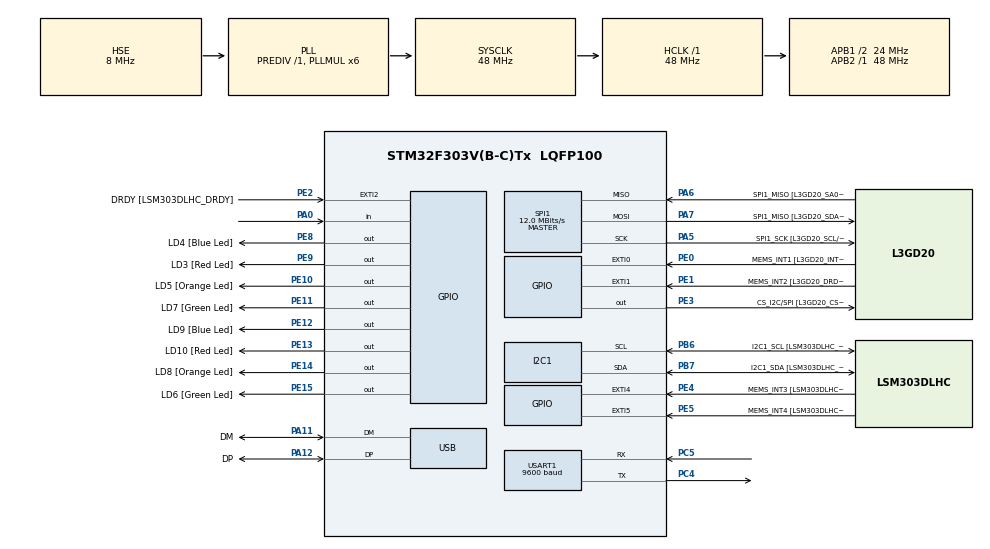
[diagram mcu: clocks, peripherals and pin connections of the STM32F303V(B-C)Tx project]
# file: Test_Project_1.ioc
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FREERTOS.Tasks01=Button,0,128,StartDefaultTask,Default,NULL,Dynamic,NULL,NULL;StepporUp,0,128,Up,Default,NULL,Dynamic,NULL,NULL;StepporDown,0,128,Down,Default,NULL,Dynamic,NULL,NULL;Steppor_Left_X,0,128,Left_X,Default,NULL,Dynamic,NULL,NULL;Steppor_Left_Y,0,128,Left_Y,Default,NULL,Dynamic,NULL,NULL;Steppor_Right_X,0,128,Right_X,Default,NULL,Dynamic,NULL,NULL;Steppor_Right_Y,0,128,Right_Y,Default,NULL,Dynamic,NULL,NULL;Servo_Up_Down,0,128,Servo,Default,NULL,Dynamic,NULL,NULL
FREERTOS.configTOTAL_HEAP_SIZE=6900
I2C1.Timing-I2C=0x2000090E
Mcu.Family=STM32F3
Mcu.Name=STM32F303V(B-C)Tx
Mcu.Package=LQFP100
NVIC.PriorityGroup=NVIC_PRIORITYGROUP_4
NVIC.USART1_IRQn=true\:5\:0\:false\:false\:true\:true\:true\:true
PA0.Signal=GPIO_Input
PA11.GPIO_Label=DM
PA11.Mode=Device
PA11.Signal=USB_DM
PA12.GPIO_Label=DP
PA12.Mode=Device
PA12.Signal=USB_DP
PA13.GPIO_Label=SWDIO
PA13.Mode=Serial_Wire
PA13.Signal=SYS_JTMS-SWDIO
PA14.GPIO_Label=SWCLK
PA14.Mode=Serial_Wire
PA14.Signal=SYS_JTCK-SWCLK
PA5.GPIO_Label=SPI1_SCK [L3GD20_SCL/SPC]
PA5.Mode=Full_Duplex_Master
PA5.Signal=SPI1_SCK
PA6.GPIO_Label=SPI1_MISO [L3GD20_SA0/SDO]
PA6.Mode=Full_Duplex_Master
PA6.Signal=SPI1_MISO
PA7.GPIO_Label=SPI1_MISO [L3GD20_SDA/SDI/SDO]
PA7.Mode=Full_Duplex_Master
PA7.Signal=SPI1_MOSI
PB3.GPIO_Label=SWO
PB3.Signal=SYS_JTDO-TRACESWO
PB6.GPIO_Label=I2C1_SCL [LSM303DLHC_SCL]
PB6.Mode=I2C
PB6.Signal=I2C1_SCL
PB7.GPIO_Label=I2C1_SDA [LSM303DLHC_SDA]
PB7.Mode=I2C
PB7.Signal=I2C1_SDA
PC14-OSC32_IN.GPIO_Label=OSC32_IN
PC14-OSC32_IN.Signal=RCC_OSC32_IN
PC15-OSC32_OUT.GPIO_Label=OSC32_OUT
PC15-OSC32_OUT.Signal=RCC_OSC32_OUT
PC4.Mode=Asynchronous
PC4.Signal=USART1_TX
PC5.Mode=Asynchronous
PC5.Signal=USART1_RX
PE0.GPIO_Label=MEMS_INT1 [L3GD20_INT1]
PE0.GPIO_ModeDefaultEXTI=GPIO_MODE_EVT_RISING
PE0.Signal=GPXTI0
PE1.GPIO_Label=MEMS_INT2 [L3GD20_DRDY/INT2]
PE1.GPIO_ModeDefaultEXTI=GPIO_MODE_EVT_RISING
PE1.Signal=GPXTI1
PE10.GPIO_Label=LD5 [Orange Led]
PE10.Signal=GPIO_Output
PE11.GPIO_Label=LD7 [Green Led]
PE11.Signal=GPIO_Output
PE12.GPIO_Label=LD9 [Blue Led]
PE12.Signal=GPIO_Output
PE13.GPIO_Label=LD10 [Red Led]
PE13.Signal=GPIO_Output
PE14.GPIO_Label=LD8 [Orange Led]
PE14.Signal=GPIO_Output
PE15.GPIO_Label=LD6 [Green Led]
PE15.Signal=GPIO_Output
PE2.GPIO_Label=DRDY [LSM303DLHC_DRDY]
PE2.GPIO_ModeDefaultEXTI=GPIO_MODE_EVT_RISING
PE2.Signal=GPXTI2
PE3.GPIO_Label=CS_I2C/SPI [L3GD20_CS_I2C/SPI]
PE3.Signal=GPIO_Output
PE4.GPIO_Label=MEMS_INT3 [LSM303DLHC_INT1]
PE4.GPIO_ModeDefaultEXTI=GPIO_MODE_EVT_RISING
PE4.Signal=GPXTI4
PE5.GPIO_Label=MEMS_INT4 [LSM303DLHC_INT2]
PE5.GPIO_ModeDefaultEXTI=GPIO_MODE_EVT_RISING
PE5.Signal=GPXTI5
PE8.GPIO_Label=LD4 [Blue Led]
PE8.Signal=GPIO_Output
PE9.GPIO_Label=LD3 [Red Led]
PE9.Signal=GPIO_Output
PF0-OSC_IN.GPIO_Label=OSC_IN
PF0-OSC_IN.Mode=HSE-External-Clock-Source
PF0-OSC_IN.Signal=RCC_OSC_IN
PF1-OSC_OUT.GPIO_Label=OSC_OUT
PF1-OSC_OUT.Signal=RCC_OSC_OUT
ProjectManager.HeapSize=0x200
ProjectManager.StackSize=0x400
ProjectManager.TargetToolchain=MDK-ARM V5
RCC.AHBFreq_Value=48000000
RCC.APB1CLKDivider=RCC_HCLK_DIV2
RCC.APB1Freq_Value=24000000
RCC.APB1TimFreq_Value=48000000
RCC.APB2Freq_Value=48000000
RCC.APB2TimFreq_Value=48000000
RCC.CortexFreq_Value=48000000
RCC.HCLKFreq_Value=48000000
RCC.HSE_VALUE=8000000
RCC.HSI_VALUE=8000000
RCC.LSE_VALUE=32768
RCC.PLLMUL=RCC_PLL_MUL6
RCC.SYSCLKFreq_VALUE=48000000
RCC.SYSCLKSourceVirtual=RCC_SYSCLKSOURCE_PLLCLK
RCC.USBFreq_Value=48000000
SPI1.BaudRatePrescaler=SPI_BAUDRATEPRESCALER_4
SPI1.BaudRatePrescaler-Full_Duplex_Master=SPI_BAUDRATEPRESCALER_2
SPI1.CalculateBaudRate=12.0 MBits/s
SPI1.CalculateBaudRate-Full_Duplex_Master=24.0 MBits/s
SPI1.Direction=SPI_DIRECTION_2LINES
SPI1.Mode=SPI_MODE_MASTER
SPI1.Mode-Full_Duplex_Master=SPI_MODE_MASTER
SPI1.VirtualType=VM_MASTER
USART1.BaudRate=9600
USART1.VirtualMode-Asynchronous=VM_ASYNC
VP_FREERTOS_VS_CMSIS_V1.Mode=CMSIS_V1
board=STM32F3DISCOVERY

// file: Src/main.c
/* USER CODE BEGIN Header */
/**
  ******************************************************************************
  * @file           : main.c
  * @brief          : Main program body
  ******************************************************************************
  * @attention
  *
  * <h2><center>&copy; Copyright (c) 2020 STMicroelectronics.
  * All rights reserved.</center></h2>
  *
  * This software component is licensed by ST under BSD 3-Clause license,
  * the "License"; You may not use this file except in compliance with the
  * License. You may obtain a copy of the License at:
  *                        opensource.org/licenses/BSD-3-Clause
  *
  ******************************************************************************
  */
/* USER CODE END Header */

#include "main.h"
#include "cmsis_os.h"

/* USER CODE BEGIN Includes */
#include "string.h"
/* USER CODE END Includes */

I2C_HandleTypeDef hi2c1;

SPI_HandleTypeDef hspi1;

UART_HandleTypeDef huart1;

PCD_HandleTypeDef hpcd_USB_FS;

osThreadId ButtonHandle;
osThreadId StepporUpHandle;
osThreadId StepporDownHandle;
osThreadId Steppor_Left_XHandle;
osThreadId Steppor_Left_YHandle;
osThreadId Steppor_Right_XHandle;
osThreadId Steppor_Right_YHandle;
osThreadId Servo_Up_DownHandle;
/* USER CODE BEGIN PV */
int Check=0;
char datain[20];
int ti =0;
/* USER CODE END PV */

void SystemClock_Config(void);
static void MX_GPIO_Init(void);
static void MX_I2C1_Init(void);
static void MX_SPI1_Init(void);
static void MX_USB_PCD_Init(void);
static void MX_USART1_UART_Init(void);
void StartDefaultTask(void const * argument);
void Up(void const * argument);
void Down(void const * argument);
void Left_X(void const * argument);
void Left_Y(void const * argument);
void Right_X(void const * argument);
void Right_Y(void const * argument);
void Servo(void const * argument);

/* USER CODE BEGIN PFP */
void send_usart(const char *text);
/* USER CODE END PFP */

int main(void)
{

  /* MCU Configuration--------------------------------------------------------*/

  /* Reset of all peripherals, Initializes the Flash interface and the Systick. */
  HAL_Init();

  /* Configure the system clock */
  SystemClock_Config();

  /* Initialize all configured peripherals */
  MX_GPIO_Init();
  MX_I2C1_Init();
  MX_SPI1_Init();
  MX_USB_PCD_Init();
  MX_USART1_UART_Init();

  /* Create the thread(s) */
  /* definition and creation of Button */
  osThreadDef(Button, StartDefaultTask, osPriorityNormal, 0, 128);
  ButtonHandle = osThreadCreate(osThread(Button), NULL);

  /* definition and creation of StepporUp */
  osThreadDef(StepporUp, Up, osPriorityNormal, 0, 128);
  StepporUpHandle = osThreadCreate(osThread(StepporUp), NULL);

  /* definition and creation of StepporDown */
  osThreadDef(StepporDown, Down, osPriorityNormal, 0, 128);
  StepporDownHandle = osThreadCreate(osThread(StepporDown), NULL);

  /* definition and creation of Steppor_Left_X */
  osThreadDef(Steppor_Left_X, Left_X, osPriorityNormal, 0, 128);
  Steppor_Left_XHandle = osThreadCreate(osThread(Steppor_Left_X), NULL);

  /* definition and creation of Steppor_Left_Y */
  osThreadDef(Steppor_Left_Y, Left_Y, osPriorityNormal, 0, 128);
  Steppor_Left_YHandle = osThreadCreate(osThread(Steppor_Left_Y), NULL);

  /* definition and creation of Steppor_Right_X */
  osThreadDef(Steppor_Right_X, Right_X, osPriorityNormal, 0, 128);
  Steppor_Right_XHandle = osThreadCreate(osThread(Steppor_Right_X), NULL);

  /* definition and creation of Steppor_Right_Y */
  osThreadDef(Steppor_Right_Y, Right_Y, osPriorityNormal, 0, 128);
  Steppor_Right_YHandle = osThreadCreate(osThread(Steppor_Right_Y), NULL);

  /* definition and creation of Servo_Up_Down */
  osThreadDef(Servo_Up_Down, Servo, osPriorityNormal, 0, 128);
  Servo_Up_DownHandle = osThreadCreate(osThread(Servo_Up_Down), NULL);

  /* Start scheduler */
  osKernelStart();

  /* We should never get here as control is now taken by the scheduler */

  /* Infinite loop */
  /* USER CODE BEGIN WHILE */
  while (1)
  {
		HAL_GPIO_WritePin(GPIOE, GPIO_PIN_13, 0);
//	int i=0;
//		int j=0;
//		int Status = 0;
//		int a =0;
//
//
//		if(HAL_GPIO_ReadPin(GPIOA, GPIO_PIN_0)==1){
////		Status = 0 ;
//		Status++; }
//

//		if(Status == 1)//up
//		{
//			for( i=0;i<50;i++)
//			{
//
//				HAL_GPIO_WritePin(GPIOE, GPIO_PIN_9, 1);//dir y
//				HAL_GPIO_WritePin(GPIOE, GPIO_PIN_11, 0);	//dir x
//				for(int j=0;j<=200;j++)
//				{
//					HAL_GPIO_WritePin(GPIOE, GPIO_PIN_10, 1);
//					HAL_GPIO_WritePin(GPIOE, GPIO_PIN_8, 1);
//					HAL_Delay(1);
//					HAL_GPIO_WritePin(GPIOE, GPIO_PIN_8, 0);
//					HAL_GPIO_WritePin(GPIOE, GPIO_PIN_10, 0);
//
//					HAL_Delay(1);

//				}
//				j=0;
//
//			}i=0;
//			Status=2;
//		}
//
//		if(Status == 2)//dowm
//		{
//			for(i=0;i<10;i++)
//			{
//				HAL_GPIO_WritePin(GPIOE, GPIO_PIN_9,0);//dir y
//				HAL_GPIO_WritePin(GPIOE, GPIO_PIN_11,1);	//dir x
//				for(int j=0;j<=200;j++)
//				{
//					HAL_GPIO_WritePin(GPIOE, GPIO_PIN_10, 1);
//					HAL_GPIO_WritePin(GPIOE, GPIO_PIN_8, 1);
//					HAL_Delay(1);
//					HAL_GPIO_WritePin(GPIOE, GPIO_PIN_8, 0);
//					HAL_GPIO_WritePin(GPIOE, GPIO_PIN_10, 0);
//
//					HAL_Delay(1);

//					}
//				}
//			Status=3;
//			}
//			if(Status == 3)//dowm
//		{
//			for(i=0;i<50;i++)
//			{
//				HAL_GPIO_WritePin(GPIOE, GPIO_PIN_9,1);//dir y
//				HAL_GPIO_WritePin(GPIOE, GPIO_PIN_11,0);	//dir x
//				for(int j=0;j<=200;j++)
//				{
//					HAL_GPIO_WritePin(GPIOE, GPIO_PIN_10, 1);
//					for(int j=0;j<=50;j++)
//				{
//					HAL_GPIO_WritePin(GPIOE, GPIO_PIN_8, 1);
//					HAL_Delay(1);
//					HAL_GPIO_WritePin(GPIOE, GPIO_PIN_8, 0);

//					HAL_Delay(1);

//					}
//					HAL_GPIO_WritePin(GPIOE, GPIO_PIN_10, 0);
//
//					HAL_Delay(1);

//					}
//				}
//			Status=3;
			}
//

    /* USER CODE END WHILE */

}

void SystemClock_Config(void)
{
  RCC_OscInitTypeDef RCC_OscInitStruct = {0};
  RCC_ClkInitTypeDef RCC_ClkInitStruct = {0};
  RCC_PeriphCLKInitTypeDef PeriphClkInit = {0};

  /** Initializes the CPU, AHB and APB busses clocks
  */
  RCC_OscInitStruct.OscillatorType = RCC_OSCILLATORTYPE_HSI|RCC_OSCILLATORTYPE_HSE;
  RCC_OscInitStruct.HSEState = RCC_HSE_BYPASS;
  RCC_OscInitStruct.HSEPredivValue = RCC_HSE_PREDIV_DIV1;
  RCC_OscInitStruct.HSIState = RCC_HSI_ON;
  RCC_OscInitStruct.HSICalibrationValue = RCC_HSICALIBRATION_DEFAULT;
  RCC_OscInitStruct.PLL.PLLState = RCC_PLL_ON;
  RCC_OscInitStruct.PLL.PLLSource = RCC_PLLSOURCE_HSE;
  RCC_OscInitStruct.PLL.PLLMUL = RCC_PLL_MUL6;
  if (HAL_RCC_OscConfig(&RCC_OscInitStruct) != HAL_OK)
  {
    Error_Handler();
  }
  /** Initializes the CPU, AHB and APB busses clocks
  */
  RCC_ClkInitStruct.ClockType = RCC_CLOCKTYPE_HCLK|RCC_CLOCKTYPE_SYSCLK
                              |RCC_CLOCKTYPE_PCLK1|RCC_CLOCKTYPE_PCLK2;
  RCC_ClkInitStruct.SYSCLKSource = RCC_SYSCLKSOURCE_PLLCLK;
  RCC_ClkInitStruct.AHBCLKDivider = RCC_SYSCLK_DIV1;
  RCC_ClkInitStruct.APB1CLKDivider = RCC_HCLK_DIV2;
  RCC_ClkInitStruct.APB2CLKDivider = RCC_HCLK_DIV1;

  if (HAL_RCC_ClockConfig(&RCC_ClkInitStruct, FLASH_LATENCY_1) != HAL_OK)
  {
    Error_Handler();
  }
  PeriphClkInit.PeriphClockSelection = RCC_PERIPHCLK_USB|RCC_PERIPHCLK_USART1
                              |RCC_PERIPHCLK_I2C1;
  PeriphClkInit.Usart1ClockSelection = RCC_USART1CLKSOURCE_PCLK2;
  PeriphClkInit.I2c1ClockSelection = RCC_I2C1CLKSOURCE_HSI;
  PeriphClkInit.USBClockSelection = RCC_USBCLKSOURCE_PLL;
  if (HAL_RCCEx_PeriphCLKConfig(&PeriphClkInit) != HAL_OK)
  {
    Error_Handler();
  }
}

static void MX_I2C1_Init(void)
{

  hi2c1.Instance = I2C1;
  hi2c1.Init.Timing = 0x2000090E;
  hi2c1.Init.OwnAddress1 = 0;
  hi2c1.Init.AddressingMode = I2C_ADDRESSINGMODE_7BIT;
  hi2c1.Init.DualAddressMode = I2C_DUALADDRESS_DISABLE;
  hi2c1.Init.OwnAddress2 = 0;
  hi2c1.Init.OwnAddress2Masks = I2C_OA2_NOMASK;
  hi2c1.Init.GeneralCallMode = I2C_GENERALCALL_DISABLE;
  hi2c1.Init.NoStretchMode = I2C_NOSTRETCH_DISABLE;
  if (HAL_I2C_Init(&hi2c1) != HAL_OK)
  {
    Error_Handler();
  }
  /** Configure Analogue filter
  */
  if (HAL_I2CEx_ConfigAnalogFilter(&hi2c1, I2C_ANALOGFILTER_ENABLE) != HAL_OK)
  {
    Error_Handler();
  }
  /** Configure Digital filter
  */
  if (HAL_I2CEx_ConfigDigitalFilter(&hi2c1, 0) != HAL_OK)
  {
    Error_Handler();
  }

}

static void MX_SPI1_Init(void)
{

  /* SPI1 parameter configuration*/
  hspi1.Instance = SPI1;
  hspi1.Init.Mode = SPI_MODE_MASTER;
  hspi1.Init.Direction = SPI_DIRECTION_2LINES;
  hspi1.Init.DataSize = SPI_DATASIZE_4BIT;
  hspi1.Init.CLKPolarity = SPI_POLARITY_LOW;
  hspi1.Init.CLKPhase = SPI_PHASE_1EDGE;
  hspi1.Init.NSS = SPI_NSS_SOFT;
  hspi1.Init.BaudRatePrescaler = SPI_BAUDRATEPRESCALER_4;
  hspi1.Init.FirstBit = SPI_FIRSTBIT_MSB;
  hspi1.Init.TIMode = SPI_TIMODE_DISABLE;
  hspi1.Init.CRCCalculation = SPI_CRCCALCULATION_DISABLE;
  hspi1.Init.CRCPolynomial = 7;
  hspi1.Init.CRCLength = SPI_CRC_LENGTH_DATASIZE;
  hspi1.Init.NSSPMode = SPI_NSS_PULSE_ENABLE;
  if (HAL_SPI_Init(&hspi1) != HAL_OK)
  {
    Error_Handler();
  }

}

static void MX_USART1_UART_Init(void)
{

  huart1.Instance = USART1;
  huart1.Init.BaudRate = 9600;
  huart1.Init.WordLength = UART_WORDLENGTH_8B;
  huart1.Init.StopBits = UART_STOPBITS_1;
  huart1.Init.Parity = UART_PARITY_NONE;
  huart1.Init.Mode = UART_MODE_TX_RX;
  huart1.Init.HwFlowCtl = UART_HWCONTROL_NONE;
  huart1.Init.OverSampling = UART_OVERSAMPLING_16;
  huart1.Init.OneBitSampling = UART_ONE_BIT_SAMPLE_DISABLE;
  huart1.AdvancedInit.AdvFeatureInit = UART_ADVFEATURE_NO_INIT;
  if (HAL_UART_Init(&huart1) != HAL_OK)
  {
    Error_Handler();
  }

}

static void MX_USB_PCD_Init(void)
{

  hpcd_USB_FS.Instance = USB;
  hpcd_USB_FS.Init.dev_endpoints = 8;
  hpcd_USB_FS.Init.speed = PCD_SPEED_FULL;
  hpcd_USB_FS.Init.phy_itface = PCD_PHY_EMBEDDED;
  hpcd_USB_FS.Init.low_power_enable = DISABLE;
  hpcd_USB_FS.Init.battery_charging_enable = DISABLE;
  if (HAL_PCD_Init(&hpcd_USB_FS) != HAL_OK)
  {
    Error_Handler();
  }

}

static void MX_GPIO_Init(void)
{
  GPIO_InitTypeDef GPIO_InitStruct = {0};

  /* GPIO Ports Clock Enable */
  __HAL_RCC_GPIOE_CLK_ENABLE();
  __HAL_RCC_GPIOC_CLK_ENABLE();
  __HAL_RCC_GPIOF_CLK_ENABLE();
  __HAL_RCC_GPIOA_CLK_ENABLE();
  __HAL_RCC_GPIOB_CLK_ENABLE();

  /*Configure GPIO pin Output Level */
  HAL_GPIO_WritePin(GPIOE, CS_I2C_SPI_Pin|LD4_Pin|LD3_Pin|LD5_Pin
                          |LD7_Pin|LD9_Pin|LD10_Pin|LD8_Pin
                          |LD6_Pin, GPIO_PIN_RESET);

  /*Configure GPIO pins : DRDY_Pin MEMS_INT3_Pin MEMS_INT4_Pin MEMS_INT1_Pin
                           MEMS_INT2_Pin */
  GPIO_InitStruct.Pin = DRDY_Pin|MEMS_INT3_Pin|MEMS_INT4_Pin|MEMS_INT1_Pin
                          |MEMS_INT2_Pin;
  GPIO_InitStruct.Mode = GPIO_MODE_EVT_RISING;
  GPIO_InitStruct.Pull = GPIO_NOPULL;
  HAL_GPIO_Init(GPIOE, &GPIO_InitStruct);

  /*Configure GPIO pins : CS_I2C_SPI_Pin LD4_Pin LD3_Pin LD5_Pin
                           LD7_Pin LD9_Pin LD10_Pin LD8_Pin
                           LD6_Pin */
  GPIO_InitStruct.Pin = CS_I2C_SPI_Pin|LD4_Pin|LD3_Pin|LD5_Pin
                          |LD7_Pin|LD9_Pin|LD10_Pin|LD8_Pin
                          |LD6_Pin;
  GPIO_InitStruct.Mode = GPIO_MODE_OUTPUT_PP;
  GPIO_InitStruct.Pull = GPIO_NOPULL;
  GPIO_InitStruct.Speed = GPIO_SPEED_FREQ_LOW;
  HAL_GPIO_Init(GPIOE, &GPIO_InitStruct);

  /*Configure GPIO pin : PA0 */
  GPIO_InitStruct.Pin = GPIO_PIN_0;
  GPIO_InitStruct.Mode = GPIO_MODE_INPUT;
  GPIO_InitStruct.Pull = GPIO_NOPULL;
  HAL_GPIO_Init(GPIOA, &GPIO_InitStruct);

}

/* USER CODE BEGIN 4 */
void send_usart(const char *text)
{
	char data[30];
	HAL_UART_Receive_IT(&huart1, (uint8_t *)data , 30);
	sprintf(data, "%s\n", text);
	HAL_UART_Transmit(&huart1, (uint8_t *)data, strlen(data), 100);
	HAL_Delay(1000);
	HAL_UART_AbortReceive_IT(&huart1);
}
/* USER CODE END 4 */

void StartDefaultTask(void const * argument)
{

  /* USER CODE BEGIN 5 */
  /* Infinite loop */
	for(;;){

		HAL_UART_Receive_IT(&huart1, (uint8_t *)datain, 20);
		for(int i=0;i<20;i++)
		{
			if(datain[i]=='0')
			{
				Check=0;
			}
			if(datain[i]=='U')
			{
				Check=1;
			}
			if(datain[i]=='L')
			{
				Check=4;
			}
			if(datain[i]=='D')
			{
				Check=2;
			}
			if(datain[i]=='R')
			{
				Check=3;
			}

		}
		for(int i=0;i<20;i++) datain[i] = 0;
		HAL_UART_AbortReceive_IT(&huart1);

	if(HAL_GPIO_ReadPin(GPIOA, GPIO_PIN_0)==1){
			Check += 1;
				HAL_GPIO_WritePin(GPIOE,GPIO_PIN_15, 1);
				HAL_GPIO_WritePin(GPIOE,GPIO_PIN_14, 0);
				osDelay(500);
		}else {
			HAL_GPIO_WritePin(GPIOE,GPIO_PIN_15, 0);
			HAL_GPIO_WritePin(GPIOE,GPIO_PIN_14, 1);
		}
		osDelay(1);
	}
  /* USER CODE END 5 */
}

void Up(void const * argument)
{
  /* USER CODE BEGIN Up */
  /* Infinite loop */
  for(;;)
  {

			if(Check == 1)//Up
		{
			for(int i=0;i<1;i++)
			{

				HAL_GPIO_WritePin(GPIOE, GPIO_PIN_9, 0);//dir y
				HAL_GPIO_WritePin(GPIOE, GPIO_PIN_11,1);	//dir x
				for(int j=0;j<=200;j++)
				{
					HAL_GPIO_WritePin(GPIOE, GPIO_PIN_8, 1);
					HAL_GPIO_WritePin(GPIOE, GPIO_PIN_10, 1);
//					HAL_Delay(1);
					osDelay(1);
					HAL_GPIO_WritePin(GPIOE, GPIO_PIN_10, 0);
					HAL_GPIO_WritePin(GPIOE, GPIO_PIN_8, 0);
//					HAL_Delay(1);
					osDelay(1);
				}
			}
		}
osDelay(1);

  }
  /* USER CODE END Up */
}

void Down(void const * argument)
{
  /* USER CODE BEGIN Down */
  /* Infinite loop */
  for(;;)
  {
				if(Check == 2)//Down
		{
			for(int i=0;i<1;i++)
			{

				HAL_GPIO_WritePin(GPIOE, GPIO_PIN_9, 1);//dir y
				HAL_GPIO_WritePin(GPIOE, GPIO_PIN_11,0);	//dir x
				for(int j=0;j<=200;j++)
				{
					HAL_GPIO_WritePin(GPIOE, GPIO_PIN_8, 1);
					HAL_GPIO_WritePin(GPIOE, GPIO_PIN_10, 1);
//					HAL_Delay(1);
					osDelay(1);
					HAL_GPIO_WritePin(GPIOE, GPIO_PIN_10, 0);
					HAL_GPIO_WritePin(GPIOE, GPIO_PIN_8, 0);
//					HAL_Delay(1);
					osDelay(1);
				}
			}
		}
		osDelay(1);
  }
  /* USER CODE END Down */
}

void Left_X(void const * argument)
{
  /* USER CODE BEGIN Left_X */
  /* Infinite loop */
  for(;;)
  {
     if(Check == 3)//X Left
		{
			for(int i=0;i<1;i++)
			{

//				HAL_GPIO_WritePin(GPIOE, GPIO_PIN_9, 0);//dir y
				HAL_GPIO_WritePin(GPIOE, GPIO_PIN_11,1);	//dir x
for(int j=0;j<=200;j++)
				{

					HAL_GPIO_WritePin(GPIOE, GPIO_PIN_10, 1);
					HAL_Delay(3);
					HAL_GPIO_WritePin(GPIOE, GPIO_PIN_10, 0);

					HAL_Delay(3);
				}

			}

		}
		osDelay(1);
  }
  /* USER CODE END Left_X */
}

void Left_Y(void const * argument)
{
  /* USER CODE BEGIN Left_Y */
  /* Infinite loop */
  for(;;)
  {
    if(Check == 3)//Y Life
		{
			for(int i=0;i<1;i++)
			{

				HAL_GPIO_WritePin(GPIOE, GPIO_PIN_9, 1);//dir y
//				HAL_GPIO_WritePin(GPIOE, GPIO_PIN_11,1);	//dir x
				for(int j=0;j<=200;j++)
				{

					HAL_GPIO_WritePin(GPIOE, GPIO_PIN_8, 1);

					HAL_Delay(1);

					HAL_GPIO_WritePin(GPIOE, GPIO_PIN_8, 0);

					HAL_Delay(1);

				}
			}

		}
		osDelay(1);
  }
  /* USER CODE END Left_Y */
}

void Right_X(void const * argument)
{
  /* USER CODE BEGIN Right_X */
  /* Infinite loop */
  for(;;)
  {
		if(Check == 4)//X Right
		{
			for(int i=0;i<1;i++)
			{

//				HAL_GPIO_WritePin(GPIOE, GPIO_PIN_9, 0);//dir y
				HAL_GPIO_WritePin(GPIOE, GPIO_PIN_11,0);	//dir x
				for(int j=0;j<=200;j++)
					{

						HAL_GPIO_WritePin(GPIOE, GPIO_PIN_10, 1);
						HAL_Delay(1);
						HAL_GPIO_WritePin(GPIOE, GPIO_PIN_10, 0);

						HAL_Delay(1);
					}
			}
		}
    osDelay(1);
  }
  /* USER CODE END Right_X */
}

void Right_Y(void const * argument)
{
  /* USER CODE BEGIN Right_Y */
  /* Infinite loop */
  for(;;)
  {
		if(Check == 4)//Y Right
		{
			for(int i=0;i<1;i++)
			{

				HAL_GPIO_WritePin(GPIOE, GPIO_PIN_9, 0);//dir y
//				HAL_GPIO_WritePin(GPIOE, GPIO_PIN_11,1);	//dir x
				for(int j=0;j<=200;j++)
				{

					HAL_GPIO_WritePin(GPIOE, GPIO_PIN_8, 1);

					HAL_Delay(3);

					HAL_GPIO_WritePin(GPIOE, GPIO_PIN_8, 0);

					HAL_Delay(3);

				}
			}

		}
    osDelay(1);
  }
  /* USER CODE END Right_Y */
}

void Servo(void const * argument)
{
  for(;;)
  {
    osDelay(1);
  }
}

void Error_Handler(void)
{
}

/************************ (C) COPYRIGHT STMicroelectronics *****END OF FILE****/
